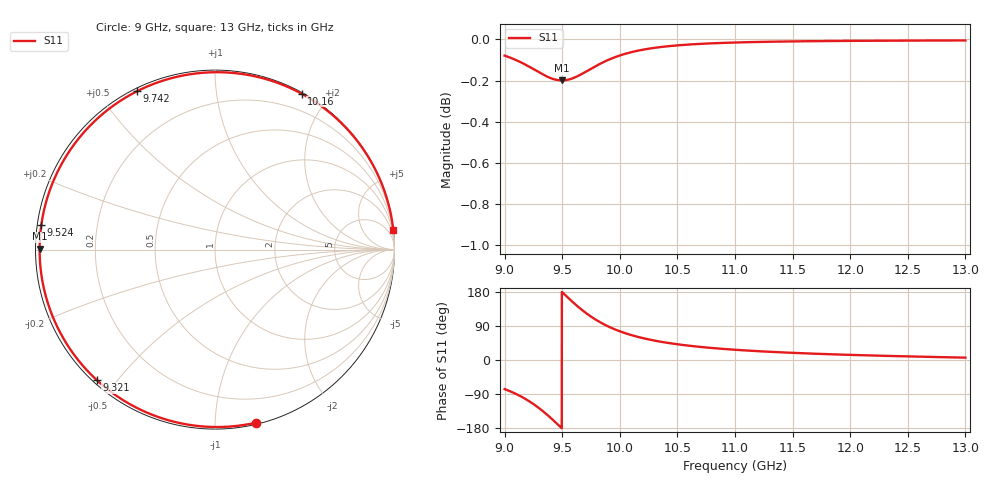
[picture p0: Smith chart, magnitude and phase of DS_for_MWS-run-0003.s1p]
! TOUCHSTONE file generated by CST DESIGN STUDIO
! Date and time: Tue Feb  4 17:40:25 2025
! Project name: C:\Work\MatlabApps\UnitCellOptimizationMatlab\CST\unitcell.cst
! Tree item: Tasks\Sweep1\SPara1\S-Parameters
! Header version: 2024
! Port assignment regex: !\s*Touchstone port\s*([0-9]+)\s*=\s*(CST MWS port|CST DES external port|CST DES block port)\s*(.+)\s* \(\"(.*)\"\)(\s*mode\s*([0-9]+))?.*
! Touchstone port assignment:
! Touchstone port 1 = CST DES external port 1 ("")
# GHz S MA R 50
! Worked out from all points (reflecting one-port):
!   4001 points, 9 GHz to 13 GHz, reference 50 ohm
!   lowest |S11| = -0.2 dB at 9.497 GHz (marker M1), VSWR 87.28, Z = 0.573 + j0.125 ohm
!   phase of S11 starts at -77 deg and turns -277 deg over the sweep
!   S11 on the Smith chart (normalised r, x): 9 GHz: 0.01, -1.26; 9.321 GHz: 0.01, -0.44; 9.524 GHz: 0.01, +0.07; 9.742 GHz: 0.01, +0.62; 10.16 GHz: 0.01, +1.70; 13 GHz: 0, +18
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9  0.991 -76.7
9.083  0.989 -87.3
9.184  0.9859 -103.4
9.255  0.9834 -117.3
9.321  0.981 -132.3
9.368  0.9795 -144.2
9.417  0.9782 -157.4
9.458  0.9776 -169.0
9.497  0.9773 179.7
9.5  0.9773 178.8
9.524  0.9774 171.9
9.578  0.9782 156.6
9.638  0.9798 140.5
9.689  0.9815 128.0
9.742  0.9835 116.2
9.795  0.9853 105.7
9.853  0.9872 95.7
9.926  0.9893 84.9
10  0.9911 75.8
10.157  0.9938 61.0
10.313  0.9954 50.5
10.5  0.9967 41.5
10.722  0.9976 33.8
11  0.9983 27.0
11.5  0.9989 18.9
12  0.9992 13.5
12.5  0.9994 9.5
13  0.9994 6.2
